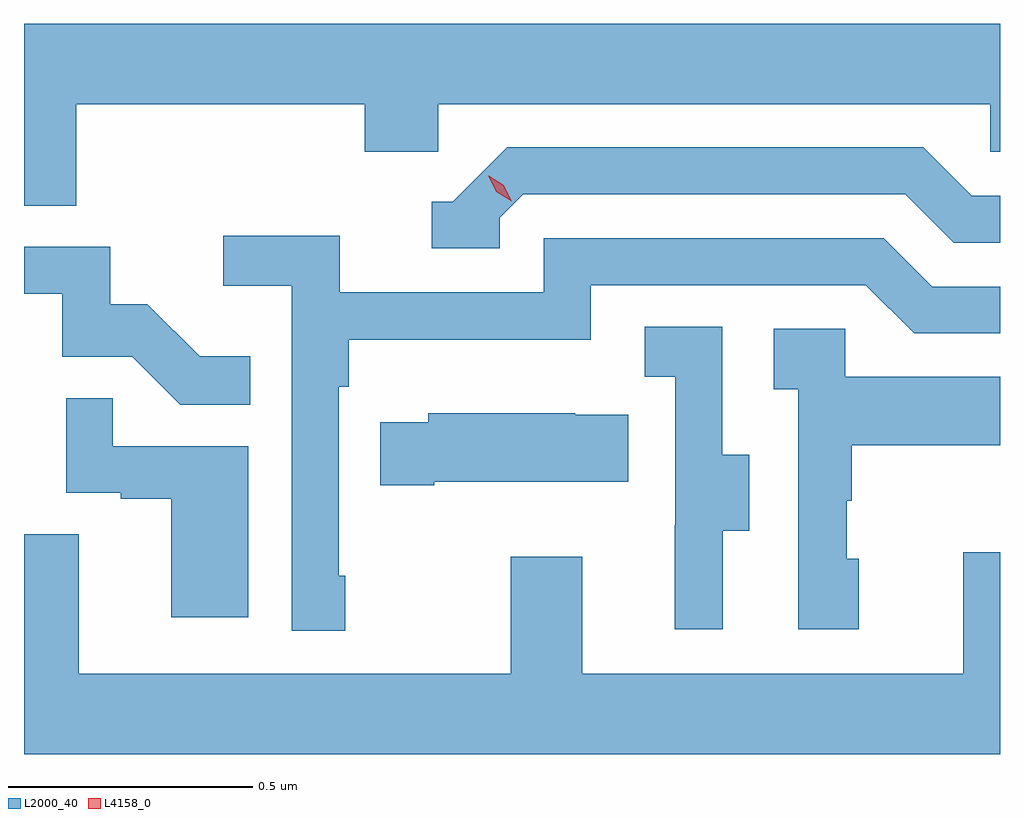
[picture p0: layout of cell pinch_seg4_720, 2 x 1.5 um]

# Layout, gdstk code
import gdstk
lib = gdstk.Library(unit=1e-6, precision=1e-09)
def P(c, l, *ps):  # polygons
    for p in ps: c.add(gdstk.Polygon(p, *l))
L2000_40 = (2000, 40)
L4158_0 = (4158, 0)

pinch_seg4_720 = lib.new_cell('pinch_seg4_720')
P(pinch_seg4_720, L2000_40, [(889.322,815.468),(889.913,815.468),(889.913,815.37),(890.064,815.37),(890.064,815.468),(891.195,815.468),(891.195,815.37),(891.215,815.37),(891.215,815.632),(889.215,815.632),(889.215,815.26),(889.322,815.26)],
  [(890.19,815.235),(890.238,815.283),(891.021,815.283),(891.12,815.184),(891.215,815.184),(891.215,815.28),(891.157,815.28),(891.058,815.379),(890.205,815.379),(890.094,815.268),(890.051,815.268),(890.051,815.172),(890.19,815.172)],
  [(889.873,814.501),(889.86,814.501),(889.86,814.889),(889.88,814.889),(889.88,814.985),(890.376,814.985),(890.376,815.097),(890.94,815.097),(891.039,814.998),(891.215,814.998),(891.215,815.094),(891.076,815.094),(890.977,815.193),(890.28,815.193),(890.28,815.082),(889.862,815.082),(889.862,815.198),(889.623,815.198),(889.623,815.096),(889.764,815.096),(889.764,814.389),(889.873,814.389)],
  [(889.679,814.951),(889.575,814.951),(889.468,815.058),(889.392,815.058),(889.392,815.175),(889.215,815.175),(889.215,815.079),(889.293,815.079),(889.293,814.95),(889.437,814.95),(889.535,814.852),(889.679,814.852)],
  [(890.647,814.594),(890.701,814.594),(890.701,814.749),(890.646,814.749),(890.646,815.012),(890.487,815.012),(890.487,814.909),(890.55,814.909),(890.55,814.605),(890.549,814.605),(890.549,814.392),(890.647,814.392)],
  [(890.926,814.536),(890.901,814.536),(890.901,814.655),(890.911,814.655),(890.911,814.769),(891.215,814.769),(891.215,814.909),(890.898,814.909),(890.898,815.007),(890.751,815.007),(890.751,814.883),(890.802,814.883),(890.802,814.392),(890.926,814.392)],
  [(889.675,814.767),(889.397,814.767),(889.397,814.865),(889.302,814.865),(889.302,814.671),(889.413,814.671),(889.413,814.659),(889.517,814.659),(889.517,814.416),(889.675,814.416)],
  [(890.056,814.694),(890.453,814.694),(890.453,814.831),(890.345,814.831),(890.345,814.834),(890.043,814.834),(890.043,814.816),(889.945,814.816),(889.945,814.687),(890.056,814.687)],
  [(891.215,814.549),(891.14,814.549),(891.14,814.3),(890.359,814.3),(890.359,814.54),(890.212,814.54),(890.212,814.3),(889.327,814.3),(889.327,814.586),(889.215,814.586),(889.215,814.136),(891.215,814.136)])
P(pinch_seg4_720, L4158_0, [(890.214,815.269),(890.183,815.288),(890.166,815.321),(890.166,815.321),(890.167,815.321),(890.198,815.302),(890.214,815.269),(890.214,815.269)])

lib.write_gds('pinch_seg4_720.gds')
